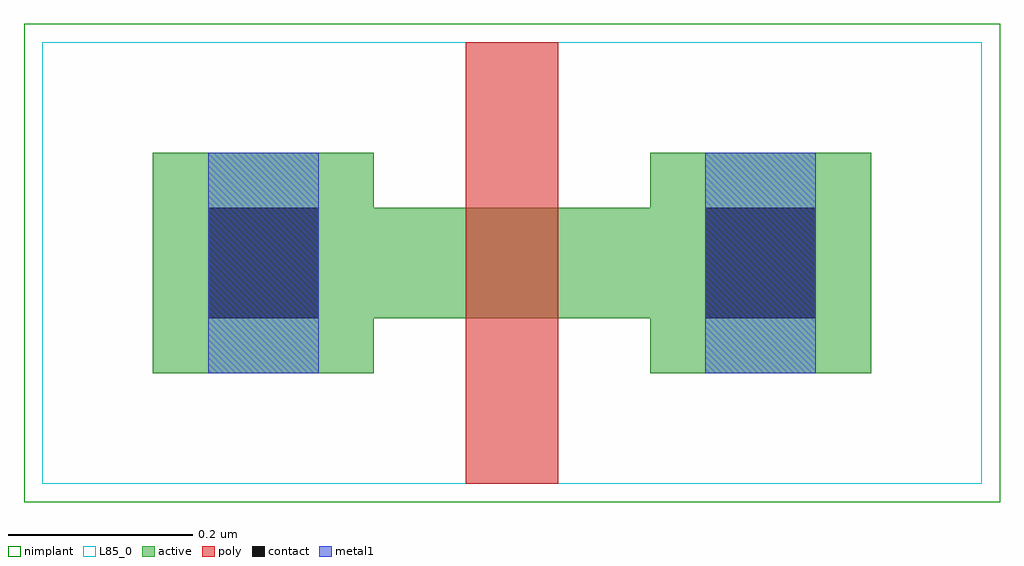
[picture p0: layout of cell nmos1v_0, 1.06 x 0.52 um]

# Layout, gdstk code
import gdstk
lib = gdstk.Library(unit=1e-6, precision=1e-09)
def R(c, l, rs):  # rectangles x0, y0, x1, y1
    for r in rs: c.add(gdstk.rectangle(r[:2], r[2:], *l))
def A(c, l, x, y, w, h, nx, ny, dx, dy):  # array of equal rectangles
    R(c, l, [(x+i*dx, y+j*dy, x+i*dx+w, y+j*dy+h) for i in range(nx) for j in range(ny)])
active = (1, 0)
poly = (3, 0)
nimplant = (4, 0)
contact = (6, 0)
metal1 = (7, 0)
L85_0 = (85, 0)

nmos1v_0 = lib.new_cell('nmos1v_0')
A(nmos1v_0, active, -0.1, 0, 0.1, 0.12, 3, 1, 0.1, 0)
R(nmos1v_0, active, [(-0.34,-0.06,-0.1,0.18), (0.2,-0.06,0.44,0.18)])
R(nmos1v_0, poly, [(0,-0.18,0.1,-0.16), (0,-0.16,0.1,0), (0,0,0.1,0.12), (0,0.12,0.1,0.28), (0,0.28,0.1,0.3)])
R(nmos1v_0, nimplant, [(-0.48,-0.2,0.58,0.32), (-0.18,-0.18,0.28,0.3)])
R(nmos1v_0, contact, [(-0.28,0,-0.16,0.12), (0.26,0,0.38,0.12)])
R(nmos1v_0, metal1, [(-0.28,-0.06,-0.16,0.18), (0.26,-0.06,0.38,0.18)])
R(nmos1v_0, L85_0, [(-0.46,-0.18,0.56,0.3)])

lib.write_gds('nmos1v_0.gds')
